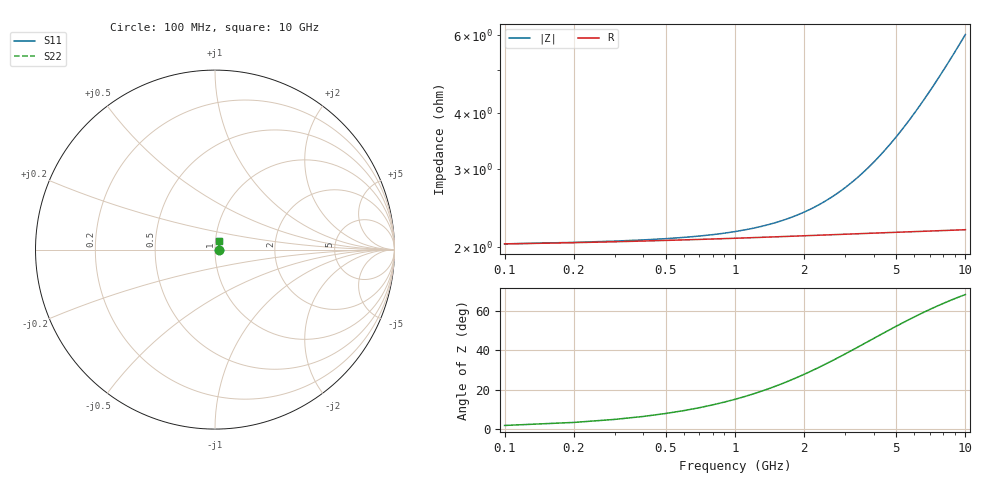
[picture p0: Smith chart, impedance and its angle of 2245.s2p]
# Hz S RI R 50.00
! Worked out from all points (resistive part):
!   100 points, 100 MHz to 10 GHz, reference 50 ohm
!   read as one part in series: R = 2.04 ohm at 100 MHz
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1e8  0.02 0.00047  0.98 -0.000607  0.98 -0.000607  0.02 0.00047
2e8  0.0201 0.000939  0.9799 -0.00121  0.9799 -0.00121  0.0201 0.000939
8e8  0.0205 0.00375  0.9795 -0.00486  0.9795 -0.00486  0.0205 0.00375
1.1e9  0.0206 0.00516  0.9794 -0.00667  0.9794 -0.00667  0.0206 0.00516
1.4e9  0.0207 0.00656  0.9793 -0.00849  0.9793 -0.00849  0.0207 0.00656
1.6e9  0.0208 0.0075  0.9792 -0.00971  0.9792 -0.00971  0.0208 0.0075
1.8e9  0.0208 0.00844  0.9791 -0.0109  0.9791 -0.0109  0.0208 0.00844
2.1e9  0.0209 0.00984  0.9791 -0.0127  0.9791 -0.0127  0.0209 0.00984
2.5e9  0.0211 0.0117  0.9789 -0.0152  0.9789 -0.0152  0.0211 0.0117
2.9e9  0.0212 0.0136  0.9788 -0.0176  0.9788 -0.0176  0.0212 0.0136
3.4e9  0.0213 0.0159  0.9786 -0.0206  0.9786 -0.0206  0.0213 0.0159
5.1e9  0.0219 0.0239  0.978 -0.0309  0.978 -0.0309  0.0219 0.0239
5.9e9  0.0222 0.0276  0.9777 -0.0357  0.9777 -0.0357  0.0222 0.0276
6.3e9  0.0224 0.0295  0.9775 -0.0382  0.9775 -0.0382  0.0224 0.0295
6.7e9  0.0226 0.0313  0.9774 -0.0406  0.9774 -0.0406  0.0226 0.0313
7.1e9  0.0228 0.0332  0.9772 -0.043  0.9772 -0.043  0.0228 0.0332
7.5e9  0.023 0.035  0.977 -0.0454  0.977 -0.0454  0.023 0.035
7.9e9  0.0232 0.0369  0.9768 -0.0478  0.9768 -0.0478  0.0232 0.0369
8.4e9  0.0234 0.0392  0.9765 -0.0508  0.9765 -0.0508  0.0234 0.0392
8.8e9  0.0236 0.0411  0.9763 -0.0532  0.9763 -0.0532  0.0236 0.0411
9.2e9  0.0239 0.0429  0.976 -0.0556  0.976 -0.0556  0.0239 0.0429
1e10  0.0243 0.0467  0.9755 -0.0605  0.9755 -0.0605  0.0243 0.0467
